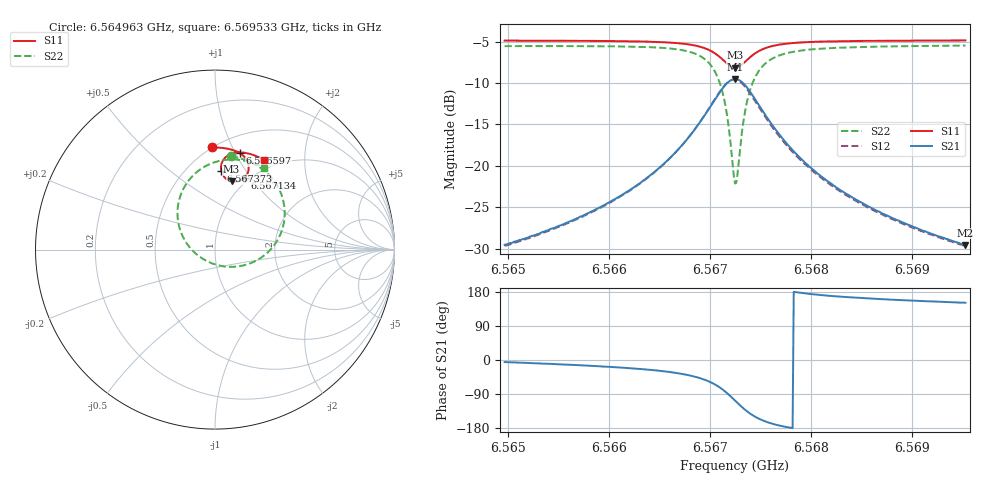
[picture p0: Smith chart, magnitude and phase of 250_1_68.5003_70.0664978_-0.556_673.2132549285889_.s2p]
#  HZ  S  RI  R  50.00
! Rohde & Schwarz Vector Network Analyzer
! Rohde-Schwarz,ZNB20-2Port,1311601062101988,3.16
! Created: UTC 3/20/2024, 5:14:55 PM
! freq[Hz]  re:S11  im:S11  re:S21  im:S21  re:S12  im:S12  re:S22  im:S22
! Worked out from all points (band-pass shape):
!   401 points, 6.564963 GHz to 6.569533 GHz, reference 50 ohm
!   highest |S21| = -9.53 dB at 6.567248 GHz (marker M1); lowest = -29.5 dB at 6.569533 GHz (marker M2)
!   |S21| within 3 dB of the highest: 6.56702 GHz to 6.567477 GHz (457 kHz wide, 0.00696 % of centre)
!   lowest |S11| = -8.2 dB at 6.567248 GHz (marker M3), VSWR 2.28, Z = 43.8 + j39.2 ohm
!   |S11| at or under -10 dB: nowhere
!   |S22| runs from -22.1 to -5.5 dB; largest |S21 - S12| = 0.017
!   S11 on the Smith chart (normalised r, x): 6.564963 GHz: 0.50, +0.84; 6.566597 GHz: 0.67, +1.04; 6.567134 GHz: 0.95, +0.93; 6.567373 GHz: 0.72, +0.78; 6.569533 GHz: 0.87, +1.29
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6.5649631e9  -0.0154 0.5689  0.0333 -0.00318  0.0326 -0.0036  0.0883 0.5198
6.5657284e9  0.0498 0.5653  0.0481 -0.012  0.0474 -0.0127  0.1684 0.4996
6.5661626e9  0.091 0.5572  0.0644 -0.0245  0.0634 -0.0252  0.2274 0.4727
6.5664938e9  0.1274 0.5434  0.0853 -0.046  0.0842 -0.047  0.2884 0.4284
6.5665967e9  0.1402 0.5361  0.0942 -0.058  0.0929 -0.0592  0.3118 0.4047
6.5668023e9  0.1678 0.5118  0.1151 -0.0998  0.1132 -0.102  0.3637 0.3229
6.5669622e9  0.1861 0.4731  0.1234 -0.1678  0.1201 -0.1718  0.3883 0.1919
6.567065e9  0.1841 0.4321  0.1014 -0.2398  0.0944 -0.2448  0.3492 0.0548
6.5671336e9  0.165 0.4006  0.0537 -0.2932  0.0422 -0.297  0.259 -0.0437
6.5671907e9  0.1334 0.3814  -0.0142 -0.3232  -0.0294 -0.3226  0.1315 -0.0932
6.567225e9  0.109 0.3778  -0.0638 -0.3257  -0.0798 -0.3212  0.0413 -0.0925
6.5672478e9  0.0925 0.3799  -0.0974 -0.3192  -0.1127 -0.3118  -0.018 -0.0762
6.5672707e9  0.0767 0.3855  -0.1289 -0.3063  -0.1431 -0.2961  -0.0724 -0.0484
6.5673278e9  0.0465 0.4115  -0.1892 -0.2527  -0.1978 -0.2383  -0.1705 0.0554
6.5673735e9  0.0351 0.4377  -0.2136 -0.2009  -0.2172 -0.1863  -0.2045 0.1493
6.5674649e9  0.0382 0.4834  -0.2149 -0.1133  -0.2127 -0.102  -0.1919 0.3024
6.567602e9  0.0661 0.5208  -0.1769 -0.041  -0.1729 -0.0349  -0.1112 0.4235
6.5677619e9  0.0985 0.5371  -0.1359 -0.00691  -0.1323 -0.00359  -0.0268 0.4774
6.5680132e9  0.1378 0.5421  -0.0952 0.0106  -0.0928 0.0122  0.0617 0.5005
6.5683217e9  0.1739 0.5379  -0.0678 0.016  -0.0661 0.0169  0.1301 0.5005
6.5687786e9  0.2166 0.5258  -0.0463 0.0173  -0.0452 0.0175  0.1965 0.4873
6.5695326e9  0.2755 0.4997  -0.0291 0.0161  -0.0285 0.0163  0.2716 0.4567
